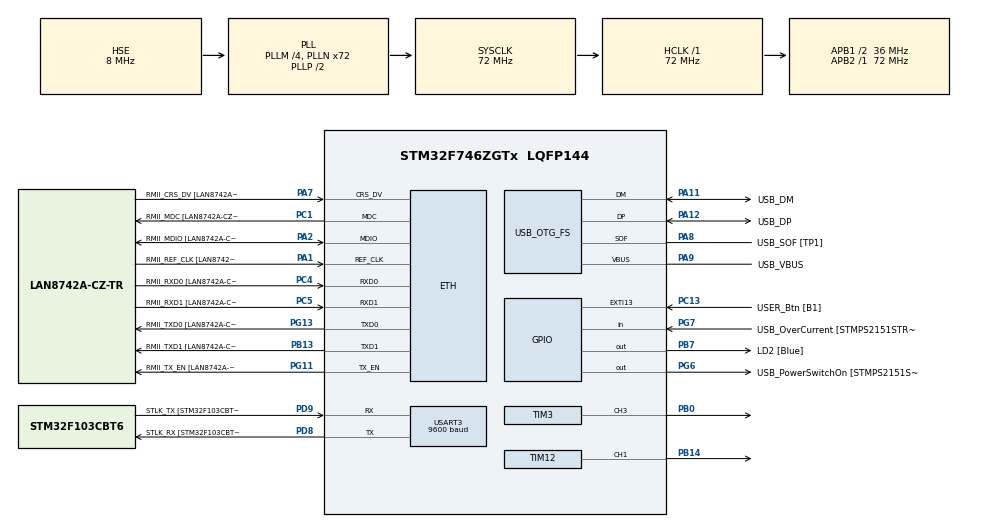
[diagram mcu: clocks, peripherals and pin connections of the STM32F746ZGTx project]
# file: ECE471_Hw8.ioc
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ETH.MediaInterface=HAL_ETH_RMII_MODE
ETH.PHY_Name=LAN8742A_PHY_ADDRESS
ETH.PHY_Value=0
ETH.PhyAddress=0
FREERTOS.Queues01=PwmDataBuffer,5,uint16_t,0,Dynamic,NULL,NULL
FREERTOS.Tasks01=defaultTask,0,128,StartDefaultTask,Default,NULL,Dynamic,NULL,NULL;SetPwm,2,128,SetPwmTask,Default,NULL,Dynamic,NULL,NULL
Mcu.Family=STM32F7
Mcu.Name=STM32F746ZGTx
Mcu.Package=LQFP144
NVIC.PriorityGroup=NVIC_PRIORITYGROUP_4
NVIC.TIM2_IRQn=true\:15\:0\:false\:false\:true\:false\:false\:true\:true
NVIC.TimeBase=TIM2_IRQn
NVIC.TimeBaseIP=TIM2
NVIC.USART3_IRQn=true\:5\:0\:false\:false\:true\:true\:true\:true\:true
PA1.GPIO_Label=RMII_REF_CLK [LAN8742A-CZ-TR_REFCLK0]
PA1.Mode=RMII
PA1.Signal=ETH_REF_CLK
PA10.GPIO_Label=USB_ID
PA10.Signal=USB_OTG_FS_ID
PA11.GPIO_Label=USB_DM
PA11.Mode=Device_Only
PA11.Signal=USB_OTG_FS_DM
PA12.GPIO_Label=USB_DP
PA12.Mode=Device_Only
PA12.Signal=USB_OTG_FS_DP
PA13.GPIO_Label=TMS
PA13.Mode=Serial_Wire
PA13.Signal=SYS_JTMS-SWDIO
PA14.GPIO_Label=TCK
PA14.Mode=Serial_Wire
PA14.Signal=SYS_JTCK-SWCLK
PA2.GPIO_Label=RMII_MDIO [LAN8742A-CZ-TR_MDIO]
PA2.Mode=RMII
PA2.Signal=ETH_MDIO
PA7.GPIO_Label=RMII_CRS_DV [LAN8742A-CZ-TR_CRS_DV]
PA7.Mode=RMII
PA7.Signal=ETH_CRS_DV
PA8.GPIO_Label=USB_SOF [TP1]
PA8.Mode=Activate_SOF_FS
PA8.Signal=USB_OTG_FS_SOF
PA9.GPIO_Label=USB_VBUS
PA9.Mode=Activate_VBUS
PA9.Signal=USB_OTG_FS_VBUS
PB0.Signal=S_TIM3_CH3
PB13.GPIO_Label=RMII_TXD1 [LAN8742A-CZ-TR_TXD1]
PB13.Mode=RMII
PB13.Signal=ETH_TXD1
PB14.Signal=S_TIM12_CH1
PB3.GPIO_Label=SW0
PB3.Signal=SYS_JTDO-SWO
PB7.GPIO_Label=LD2 [Blue]
PB7.Signal=GPIO_Output
PC1.GPIO_Label=RMII_MDC [LAN8742A-CZ-TR_MDC]
PC1.Mode=RMII
PC1.Signal=ETH_MDC
PC13.GPIO_Label=USER_Btn [B1]
PC13.Signal=GPXTI13
PC14/OSC32_IN.Mode=LSE-External-Oscillator
PC14/OSC32_IN.Signal=RCC_OSC32_IN
PC15/OSC32_OUT.Mode=LSE-External-Oscillator
PC15/OSC32_OUT.Signal=RCC_OSC32_OUT
PC4.GPIO_Label=RMII_RXD0 [LAN8742A-CZ-TR_RXD0]
PC4.Mode=RMII
PC4.Signal=ETH_RXD0
PC5.GPIO_Label=RMII_RXD1 [LAN8742A-CZ-TR_RXD1]
PC5.Mode=RMII
PC5.Signal=ETH_RXD1
PD8.GPIO_Label=STLK_RX [STM32F103CBT6_PA3]
PD8.GPIO_PuPd=GPIO_PULLUP
PD8.Mode=Asynchronous
PD8.Signal=USART3_TX
PD9.GPIO_Label=STLK_TX [STM32F103CBT6_PA2]
PD9.GPIO_PuPd=GPIO_PULLUP
PD9.Mode=Asynchronous
PD9.Signal=USART3_RX
PG11.GPIO_Label=RMII_TX_EN [LAN8742A-CZ-TR_TXEN]
PG11.Mode=RMII
PG11.Signal=ETH_TX_EN
PG13.GPIO_Label=RMII_TXD0 [LAN8742A-CZ-TR_TXD0]
PG13.Mode=RMII
PG13.Signal=ETH_TXD0
PG6.GPIO_Label=USB_PowerSwitchOn [STMPS2151STR_EN]
PG6.Signal=GPIO_Output
PG7.GPIO_Label=USB_OverCurrent [STMPS2151STR_FAULT]
PG7.Signal=GPIO_Input
PH0/OSC_IN.GPIO_Label=MCO [STM32F103CBT6_PA8]
PH0/OSC_IN.Mode=HSE-External-Clock-Source
PH0/OSC_IN.Signal=RCC_OSC_IN
PH1/OSC_OUT.Mode=HSE-External-Clock-Source
PH1/OSC_OUT.Signal=RCC_OSC_OUT
ProjectManager.HeapSize=0x200
ProjectManager.StackSize=0x400
ProjectManager.TargetToolchain=STM32CubeIDE
RCC.48MHZClocksFreq_Value=24000000
RCC.AHBFreq_Value=72000000
RCC.APB1CLKDivider=RCC_HCLK_DIV2
RCC.APB1Freq_Value=36000000
RCC.APB1TimFreq_Value=72000000
RCC.APB2Freq_Value=72000000
RCC.APB2TimFreq_Value=72000000
RCC.CortexFreq_Value=72000000
RCC.HCLKFreq_Value=72000000
RCC.HSE_VALUE=8000000
RCC.HSI_VALUE=16000000
RCC.PLLM=4
RCC.PLLMUL=RCC_PLL_MUL9
RCC.PLLN=72
RCC.PLLQ=3
RCC.PRESCALERUSB=RCC_USBCLKSOURCE_PLL_DIV1_5
RCC.SYSCLKFreq_VALUE=72000000
RCC.SYSCLKSource=RCC_SYSCLKSOURCE_PLLCLK
RCC.SYSCLKSourceVirtual=RCC_SYSCLKSOURCE_PLLCLK
RCC.USBFreq_Value=48000000
RCC.VCOOutputFreq_Value=144000000
SH.S_TIM12_CH1.0=TIM12_CH1,PWM Generation1 CH1
SH.S_TIM3_CH3.0=TIM3_CH3,PWM Generation3 CH3
TIM12.Channel-PWM\ Generation1\ CH1=TIM_CHANNEL_1
TIM12.Prescaler=0
TIM3.Channel-PWM\ Generation3\ CH3=TIM_CHANNEL_3
TIM3.Period=65535
USART3.BaudRate=9600
USART3.VirtualMode-Asynchronous=VM_ASYNC
USB_OTG_FS.VirtualMode=Device_Only
VP_FREERTOS_VS_CMSIS_V1.Mode=CMSIS_V1
VP_SYS_VS_tim2.Mode=TIM2
VP_TIM12_VS_ClockSourceINT.Mode=Internal
VP_TIM3_VS_ClockSourceINT.Mode=Internal
board=NUCLEO-F746ZG

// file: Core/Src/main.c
/* USER CODE BEGIN Header */
/**
******************************************************************************
* @file : main.c
* @brief : Main program body
******************************************************************************
* @attention
*
* Copyright (c) 2023 STMicroelectronics.
* All rights reserved.
*
* This software is licensed under terms that can be found in the LICENSE file
* in the root directory of this software component.
* If no LICENSE file comes with this software, it is provided AS-IS.
*
******************************************************************************
*/
/* USER CODE END Header */
#include "main.h"
#include "string.h"
#include "cmsis_os.h"

#if defined ( __ICCARM__ ) /*!< IAR Compiler */
#pragma location=0x2004c000
ETH_DMADescTypeDef  DMARxDscrTab[ETH_RX_DESC_CNT]; /* Ethernet Rx DMA Descriptors */
#pragma location=0x2004c0a0
ETH_DMADescTypeDef  DMATxDscrTab[ETH_TX_DESC_CNT]; /* Ethernet Tx DMA Descriptors */

#elif defined ( __CC_ARM )  /* MDK ARM Compiler */

__attribute__((at(0x2004c000))) ETH_DMADescTypeDef  DMARxDscrTab[ETH_RX_DESC_CNT]; /* Ethernet Rx DMA Descriptors */
__attribute__((at(0x2004c0a0))) ETH_DMADescTypeDef  DMATxDscrTab[ETH_TX_DESC_CNT]; /* Ethernet Tx DMA Descriptors */

#elif defined ( __GNUC__ ) /* GNU Compiler */
ETH_DMADescTypeDef DMARxDscrTab[ETH_RX_DESC_CNT] __attribute__((section(".RxDecripSection"))); /* Ethernet Rx DMA Descriptors */
ETH_DMADescTypeDef DMATxDscrTab[ETH_TX_DESC_CNT] __attribute__((section(".TxDecripSection")));   /* Ethernet Tx DMA Descriptors */

#endif

ETH_TxPacketConfig TxConfig;

ETH_HandleTypeDef heth;

TIM_HandleTypeDef htim3;
TIM_HandleTypeDef htim12;

UART_HandleTypeDef huart3;

PCD_HandleTypeDef hpcd_USB_OTG_FS;

osThreadId defaultTaskHandle;
osThreadId SetPwmHandle;
osMessageQId PwmDataBufferHandle;

void SystemClock_Config(void);
static void MX_GPIO_Init(void);
static void MX_ETH_Init(void);
static void MX_USART3_UART_Init(void);
static void MX_USB_OTG_FS_PCD_Init(void);
static void MX_TIM3_Init(void);
static void MX_TIM12_Init(void);
void StartDefaultTask(void const * argument);
void SetPwmTask(void const * argument);

/* USER CODE BEGIN 0 */
enum led {
	red,
	green
};

static enum led redLed = red;
static enum led greenLed = green;
static int max = 65535;
static bool blueFlag = false;
//static bool dataRead = false;
static bool active = false;

void setLed(uint8_t recievedData);
void checkFlag(void);
void setPWM(enum led led, int value);
void killSwitch(void);

/* USER CODE END 0 */

int main(void)
{

  /* MCU Configuration--------------------------------------------------------*/

  /* Reset of all peripherals, Initializes the Flash interface and the Systick. */
  HAL_Init();

  /* Configure the system clock */
  SystemClock_Config();

  /* Initialize all configured peripherals */
  MX_GPIO_Init();
  MX_ETH_Init();
  MX_USART3_UART_Init();
  MX_USB_OTG_FS_PCD_Init();
  MX_TIM3_Init();
  MX_TIM12_Init();
  /* USER CODE BEGIN 2 */
__HAL_UART_ENABLE_IT(&huart3, UART_IT_RXNE);
  HAL_TIM_PWM_Start(&htim3, TIM_CHANNEL_3);
  HAL_TIM_PWM_Start(&htim12, TIM_CHANNEL_1);

  /* USER CODE END 2 */

  /* Create the queue(s) */
  /* definition and creation of PwmDataBuffer */
  osMessageQDef(PwmDataBuffer, 16, uint16_t);
  PwmDataBufferHandle = osMessageCreate(osMessageQ(PwmDataBuffer), NULL);

  /* Create the thread(s) */
  /* definition and creation of defaultTask */
  osThreadDef(defaultTask, StartDefaultTask, osPriorityNormal, 0, 128);
  defaultTaskHandle = osThreadCreate(osThread(defaultTask), NULL);

  /* definition and creation of SetPwm */
  osThreadDef(SetPwm, SetPwmTask, osPriorityHigh, 0, 128);
  SetPwmHandle = osThreadCreate(osThread(SetPwm), NULL);

  /* Start scheduler */
  osKernelStart();

  /* We should never get here as control is now taken by the scheduler */
  /* Infinite loop */
while (1)
{

}
}

void SystemClock_Config(void)
{
  RCC_OscInitTypeDef RCC_OscInitStruct = {0};
  RCC_ClkInitTypeDef RCC_ClkInitStruct = {0};

  /** Configure LSE Drive Capability
  */
  HAL_PWR_EnableBkUpAccess();

  /** Configure the main internal regulator output voltage
  */
  __HAL_RCC_PWR_CLK_ENABLE();
  __HAL_PWR_VOLTAGESCALING_CONFIG(PWR_REGULATOR_VOLTAGE_SCALE3);

  /** Initializes the RCC Oscillators according to the specified parameters
  * in the RCC_OscInitTypeDef structure.
  */
  RCC_OscInitStruct.OscillatorType = RCC_OSCILLATORTYPE_HSE;
  RCC_OscInitStruct.HSEState = RCC_HSE_BYPASS;
  RCC_OscInitStruct.PLL.PLLState = RCC_PLL_ON;
  RCC_OscInitStruct.PLL.PLLSource = RCC_PLLSOURCE_HSE;
  RCC_OscInitStruct.PLL.PLLM = 4;
  RCC_OscInitStruct.PLL.PLLN = 72;
  RCC_OscInitStruct.PLL.PLLP = RCC_PLLP_DIV2;
  RCC_OscInitStruct.PLL.PLLQ = 3;
  if (HAL_RCC_OscConfig(&RCC_OscInitStruct) != HAL_OK)
  {
    Error_Handler();
  }

  /** Initializes the CPU, AHB and APB buses clocks
  */
  RCC_ClkInitStruct.ClockType = RCC_CLOCKTYPE_HCLK|RCC_CLOCKTYPE_SYSCLK
                              |RCC_CLOCKTYPE_PCLK1|RCC_CLOCKTYPE_PCLK2;
  RCC_ClkInitStruct.SYSCLKSource = RCC_SYSCLKSOURCE_PLLCLK;
  RCC_ClkInitStruct.AHBCLKDivider = RCC_SYSCLK_DIV1;
  RCC_ClkInitStruct.APB1CLKDivider = RCC_HCLK_DIV2;
  RCC_ClkInitStruct.APB2CLKDivider = RCC_HCLK_DIV1;

  if (HAL_RCC_ClockConfig(&RCC_ClkInitStruct, FLASH_LATENCY_2) != HAL_OK)
  {
    Error_Handler();
  }
}

static void MX_ETH_Init(void)
{

   static uint8_t MACAddr[6];

  heth.Instance = ETH;
  MACAddr[0] = 0x00;
  MACAddr[1] = 0x80;
  MACAddr[2] = 0xE1;
  MACAddr[3] = 0x00;
  MACAddr[4] = 0x00;
  MACAddr[5] = 0x00;
  heth.Init.MACAddr = &MACAddr[0];
  heth.Init.MediaInterface = HAL_ETH_RMII_MODE;
  heth.Init.TxDesc = DMATxDscrTab;
  heth.Init.RxDesc = DMARxDscrTab;
  heth.Init.RxBuffLen = 1524;

  if (HAL_ETH_Init(&heth) != HAL_OK)
  {
    Error_Handler();
  }

  memset(&TxConfig, 0 , sizeof(ETH_TxPacketConfig));
  TxConfig.Attributes = ETH_TX_PACKETS_FEATURES_CSUM | ETH_TX_PACKETS_FEATURES_CRCPAD;
  TxConfig.ChecksumCtrl = ETH_CHECKSUM_IPHDR_PAYLOAD_INSERT_PHDR_CALC;
  TxConfig.CRCPadCtrl = ETH_CRC_PAD_INSERT;

}

static void MX_TIM3_Init(void)
{

  TIM_ClockConfigTypeDef sClockSourceConfig = {0};
  TIM_MasterConfigTypeDef sMasterConfig = {0};
  TIM_OC_InitTypeDef sConfigOC = {0};

  htim3.Instance = TIM3;
  htim3.Init.Prescaler = 0;
  htim3.Init.CounterMode = TIM_COUNTERMODE_UP;
  htim3.Init.Period = 65535;
  htim3.Init.ClockDivision = TIM_CLOCKDIVISION_DIV1;
  htim3.Init.AutoReloadPreload = TIM_AUTORELOAD_PRELOAD_DISABLE;
  if (HAL_TIM_Base_Init(&htim3) != HAL_OK)
  {
    Error_Handler();
  }
  sClockSourceConfig.ClockSource = TIM_CLOCKSOURCE_INTERNAL;
  if (HAL_TIM_ConfigClockSource(&htim3, &sClockSourceConfig) != HAL_OK)
  {
    Error_Handler();
  }
  if (HAL_TIM_PWM_Init(&htim3) != HAL_OK)
  {
    Error_Handler();
  }
  sMasterConfig.MasterOutputTrigger = TIM_TRGO_RESET;
  sMasterConfig.MasterSlaveMode = TIM_MASTERSLAVEMODE_DISABLE;
  if (HAL_TIMEx_MasterConfigSynchronization(&htim3, &sMasterConfig) != HAL_OK)
  {
    Error_Handler();
  }
  sConfigOC.OCMode = TIM_OCMODE_PWM1;
  sConfigOC.Pulse = 0;
  sConfigOC.OCPolarity = TIM_OCPOLARITY_HIGH;
  sConfigOC.OCFastMode = TIM_OCFAST_DISABLE;
  if (HAL_TIM_PWM_ConfigChannel(&htim3, &sConfigOC, TIM_CHANNEL_3) != HAL_OK)
  {
    Error_Handler();
  }
  HAL_TIM_MspPostInit(&htim3);

}

static void MX_TIM12_Init(void)
{

  TIM_ClockConfigTypeDef sClockSourceConfig = {0};
  TIM_OC_InitTypeDef sConfigOC = {0};

  htim12.Instance = TIM12;
  htim12.Init.Prescaler = 0;
  htim12.Init.CounterMode = TIM_COUNTERMODE_UP;
  htim12.Init.Period = 65535;
  htim12.Init.ClockDivision = TIM_CLOCKDIVISION_DIV1;
  htim12.Init.AutoReloadPreload = TIM_AUTORELOAD_PRELOAD_DISABLE;
  if (HAL_TIM_Base_Init(&htim12) != HAL_OK)
  {
    Error_Handler();
  }
  sClockSourceConfig.ClockSource = TIM_CLOCKSOURCE_INTERNAL;
  if (HAL_TIM_ConfigClockSource(&htim12, &sClockSourceConfig) != HAL_OK)
  {
    Error_Handler();
  }
  if (HAL_TIM_PWM_Init(&htim12) != HAL_OK)
  {
    Error_Handler();
  }
  sConfigOC.OCMode = TIM_OCMODE_PWM1;
  sConfigOC.Pulse = 0;
  sConfigOC.OCPolarity = TIM_OCPOLARITY_HIGH;
  sConfigOC.OCFastMode = TIM_OCFAST_DISABLE;
  if (HAL_TIM_PWM_ConfigChannel(&htim12, &sConfigOC, TIM_CHANNEL_1) != HAL_OK)
  {
    Error_Handler();
  }
  HAL_TIM_MspPostInit(&htim12);

}

static void MX_USART3_UART_Init(void)
{

  huart3.Instance = USART3;
  huart3.Init.BaudRate = 9600;
  huart3.Init.WordLength = UART_WORDLENGTH_8B;
  huart3.Init.StopBits = UART_STOPBITS_1;
  huart3.Init.Parity = UART_PARITY_NONE;
  huart3.Init.Mode = UART_MODE_TX_RX;
  huart3.Init.HwFlowCtl = UART_HWCONTROL_NONE;
  huart3.Init.OverSampling = UART_OVERSAMPLING_16;
  huart3.Init.OneBitSampling = UART_ONE_BIT_SAMPLE_DISABLE;
  huart3.AdvancedInit.AdvFeatureInit = UART_ADVFEATURE_NO_INIT;
  if (HAL_UART_Init(&huart3) != HAL_OK)
  {
    Error_Handler();
  }

}

static void MX_USB_OTG_FS_PCD_Init(void)
{

  hpcd_USB_OTG_FS.Instance = USB_OTG_FS;
  hpcd_USB_OTG_FS.Init.dev_endpoints = 6;
  hpcd_USB_OTG_FS.Init.speed = PCD_SPEED_FULL;
  hpcd_USB_OTG_FS.Init.dma_enable = DISABLE;
  hpcd_USB_OTG_FS.Init.phy_itface = PCD_PHY_EMBEDDED;
  hpcd_USB_OTG_FS.Init.Sof_enable = ENABLE;
  hpcd_USB_OTG_FS.Init.low_power_enable = DISABLE;
  hpcd_USB_OTG_FS.Init.lpm_enable = DISABLE;
  hpcd_USB_OTG_FS.Init.vbus_sensing_enable = ENABLE;
  hpcd_USB_OTG_FS.Init.use_dedicated_ep1 = DISABLE;
  if (HAL_PCD_Init(&hpcd_USB_OTG_FS) != HAL_OK)
  {
    Error_Handler();
  }

}

static void MX_GPIO_Init(void)
{
  GPIO_InitTypeDef GPIO_InitStruct = {0};

  /* GPIO Ports Clock Enable */
  __HAL_RCC_GPIOC_CLK_ENABLE();
  __HAL_RCC_GPIOH_CLK_ENABLE();
  __HAL_RCC_GPIOA_CLK_ENABLE();
  __HAL_RCC_GPIOB_CLK_ENABLE();
  __HAL_RCC_GPIOD_CLK_ENABLE();
  __HAL_RCC_GPIOG_CLK_ENABLE();

  /*Configure GPIO pin Output Level */
  HAL_GPIO_WritePin(USB_PowerSwitchOn_GPIO_Port, USB_PowerSwitchOn_Pin, GPIO_PIN_RESET);

  /*Configure GPIO pin Output Level */
  HAL_GPIO_WritePin(LD2_GPIO_Port, LD2_Pin, GPIO_PIN_RESET);

  /*Configure GPIO pin : USER_Btn_Pin */
  GPIO_InitStruct.Pin = USER_Btn_Pin;
  GPIO_InitStruct.Mode = GPIO_MODE_IT_RISING;
  GPIO_InitStruct.Pull = GPIO_NOPULL;
  HAL_GPIO_Init(USER_Btn_GPIO_Port, &GPIO_InitStruct);

  /*Configure GPIO pin : USB_PowerSwitchOn_Pin */
  GPIO_InitStruct.Pin = USB_PowerSwitchOn_Pin;
  GPIO_InitStruct.Mode = GPIO_MODE_OUTPUT_PP;
  GPIO_InitStruct.Pull = GPIO_NOPULL;
  GPIO_InitStruct.Speed = GPIO_SPEED_FREQ_LOW;
  HAL_GPIO_Init(USB_PowerSwitchOn_GPIO_Port, &GPIO_InitStruct);

  /*Configure GPIO pin : USB_OverCurrent_Pin */
  GPIO_InitStruct.Pin = USB_OverCurrent_Pin;
  GPIO_InitStruct.Mode = GPIO_MODE_INPUT;
  GPIO_InitStruct.Pull = GPIO_NOPULL;
  HAL_GPIO_Init(USB_OverCurrent_GPIO_Port, &GPIO_InitStruct);

  /*Configure GPIO pin : LD2_Pin */
  GPIO_InitStruct.Pin = LD2_Pin;
  GPIO_InitStruct.Mode = GPIO_MODE_OUTPUT_PP;
  GPIO_InitStruct.Pull = GPIO_NOPULL;
  GPIO_InitStruct.Speed = GPIO_SPEED_FREQ_LOW;
  HAL_GPIO_Init(LD2_GPIO_Port, &GPIO_InitStruct);

}

/* USER CODE BEGIN 4 */
//function sets/blinks led based on recieved data 1=blue led 2=green (used for debugging purposes only)
void setLed(uint8_t recievedData){
	if(recievedData=='1'){
		TIM12->CCR1 = 65535;
		TIM3->CCR3 = 0;
	}
	else if (recievedData=='2'){  //green
		TIM3->CCR3 = 65535;
		TIM12->CCR1 = 0;
	}
}

//function sets PWM to a desired value from 0 - 11
void setPWM(enum led led, int value){

	int dutyCycle = 0;

		switch(value){	//set the duty cycle
			case 0:
				dutyCycle =0;
				break;
			case 1:
				dutyCycle =(max/10);
				break;
			case 2:
				dutyCycle =2*(max/10);
				break;
			case 3:
				dutyCycle =3*(max/10);
				break;
			case 4:
				dutyCycle =4*(max/10);
				break;
			case 5:
				dutyCycle =5*(max/10);
				break;
			case 6:
				dutyCycle =6*(max/10);
				break;
			case 7:
				dutyCycle =7*(max/10);
				break;
			case 8:
				dutyCycle =8*(max/10);
				break;
			case 9:
				dutyCycle =9*(max/10);
				break;
			case 10:
				dutyCycle = max;
				break;
			default:
				dutyCycle = 0;
		}

		if(led == green){
			TIM3->CCR3 = dutyCycle;
		}

		else if (led == red){
			TIM12->CCR1 = dutyCycle;
		}
}

void checkFlag(){	//implement blueLed functionality

	if (blueFlag==false){
		osDelay(200);
		HAL_GPIO_WritePin(GPIOB, GPIO_PIN_7, GPIO_PIN_RESET);
	}
	else if(blueFlag==true){
			HAL_GPIO_WritePin(GPIOB, GPIO_PIN_7, GPIO_PIN_SET);
		}

}

void killSwitch(){	//implement killSwitch functionality

	 if (HAL_GPIO_ReadPin(GPIOC, GPIO_PIN_13) == GPIO_PIN_SET) {

		 TIM3->CCR3 = 0;
		 TIM12->CCR1 = 0;
		 osDelay(200);	//debouncing delay

	 }
}

/* USER CODE END 4 */

void StartDefaultTask(void const * argument)
{
  /* USER CODE BEGIN 5 */

/* Infinite loop */
	for(;;)
	{
		killSwitch();
		//checkFlag();
	}
  /* USER CODE END 5 */
}

void SetPwmTask(void const * argument)
{
  /* USER CODE BEGIN SetPwmTask */

/* Infinite loop */
	for(;;)
	{

		 BaseType_t status;
		 uint8_t a,c,d;
		 uint8_t b =0x00;
		 status = xQueueReceive(PwmDataBufferHandle, &a, portMAX_DELAY);

			 if(status == pdPASS){	//if the queue is recieved succesfully

					HAL_GPIO_WritePin(GPIOB, GPIO_PIN_7, GPIO_PIN_SET);

				 if(!active){

					 setPWM(redLed, 0);
					 setPWM(greenLed, 0);
				 }

				 if(a==255){	//if the data is 255 start the readin

					xQueueReceive(PwmDataBufferHandle, &b, portMAX_DELAY);
					xQueueReceive(PwmDataBufferHandle, &c, portMAX_DELAY);
					xQueueReceive(PwmDataBufferHandle, &d, portMAX_DELAY);

					b = (uint8_t)b;
					c = (uint8_t)c;
					d = (uint8_t)d;

					uint8_t green_pwm = (b >> 4) & 0x0F; // Extract the upper 4 bits
					uint8_t red_pwm = b & 0x0F;

					if((255^b^c^d) == 0){

						if (c == 0b0010) {
						    active = true;
						} else if (c == 0b0001) {
						    active = false;
						}

						if (green_pwm == 0b0000) {
							setPWM(greenLed, 0);  // Green PWM = 0%
						} else if (green_pwm == 0b0001) {
							setPWM(greenLed, 1); // Green PWM = 10%
						} else if (green_pwm == 0b0010) {
							setPWM(greenLed, 2); // Green PWM = 20%
						} else if (green_pwm == 0b0011) {
							setPWM(greenLed, 3); // Green PWM = 30%
						} else if (green_pwm == 0b0100) {
							setPWM(greenLed, 4); // Green PWM = 40%
						} else if (green_pwm == 0b0101) {
							setPWM(greenLed, 5); // Green PWM = 50%
						} else if (green_pwm == 0b0110) {
							setPWM(greenLed, 6); // Green PWM = 60%
						} else if (green_pwm == 0b0111) {
							setPWM(greenLed, 7); // Green PWM = 70%
						} else if (green_pwm == 0b1000) {
							setPWM(greenLed, 8); // Green PWM = 80%
						} else if (green_pwm == 0b1001) {
							setPWM(greenLed, 9); // Green PWM = 90%
						} else if (green_pwm >= 0b1010 && green_pwm <= 0b1111) {
							setPWM(greenLed, 10); // Green PWM = 100%
						}

						if (red_pwm == 0b0000) {
							setPWM(redLed, 0);  // Green PWM = 0%
						} else if (red_pwm == 0b0001) {
							setPWM(redLed, 1); // Green PWM = 10%
						} else if (red_pwm == 0b0010) {
							setPWM(redLed, 2); // Green PWM = 20%
						} else if (red_pwm == 0b0011) {
							setPWM(redLed, 3); // Green PWM = 30%
						} else if (red_pwm == 0b0100) {
							setPWM(redLed, 4); // Green PWM = 40%
						} else if (red_pwm == 0b0101) {
							setPWM(redLed, 5); // Green PWM = 50%
						} else if (red_pwm == 0b0110) {
							setPWM(redLed, 6); // Green PWM = 60%
						} else if (red_pwm == 0b0111) {
							setPWM(redLed, 7); // Green PWM = 70%
						} else if (red_pwm == 0b1000) {
							setPWM(redLed, 8); // Green PWM = 80%
						} else if (red_pwm == 0b1001) {
							setPWM(redLed, 9); // Green PWM = 90%
						} else if (red_pwm >= 0b1010 && red_pwm <= 0b1111) {
							setPWM(redLed, 10); // Green PWM = 100%
						}

					}

				//	if(active == true){

			// }
		 }
	 }
			 osDelay(200);	//debouncing delay

HAL_GPIO_WritePin(GPIOB, GPIO_PIN_7, GPIO_PIN_RESET);

	}
  /* USER CODE END SetPwmTask */
}

void HAL_TIM_PeriodElapsedCallback(TIM_HandleTypeDef *htim)
{
  if (htim->Instance == TIM2) {
    HAL_IncTick();
  }
}

void Error_Handler(void)
{
__disable_irq();
while (1)
{
}
}
